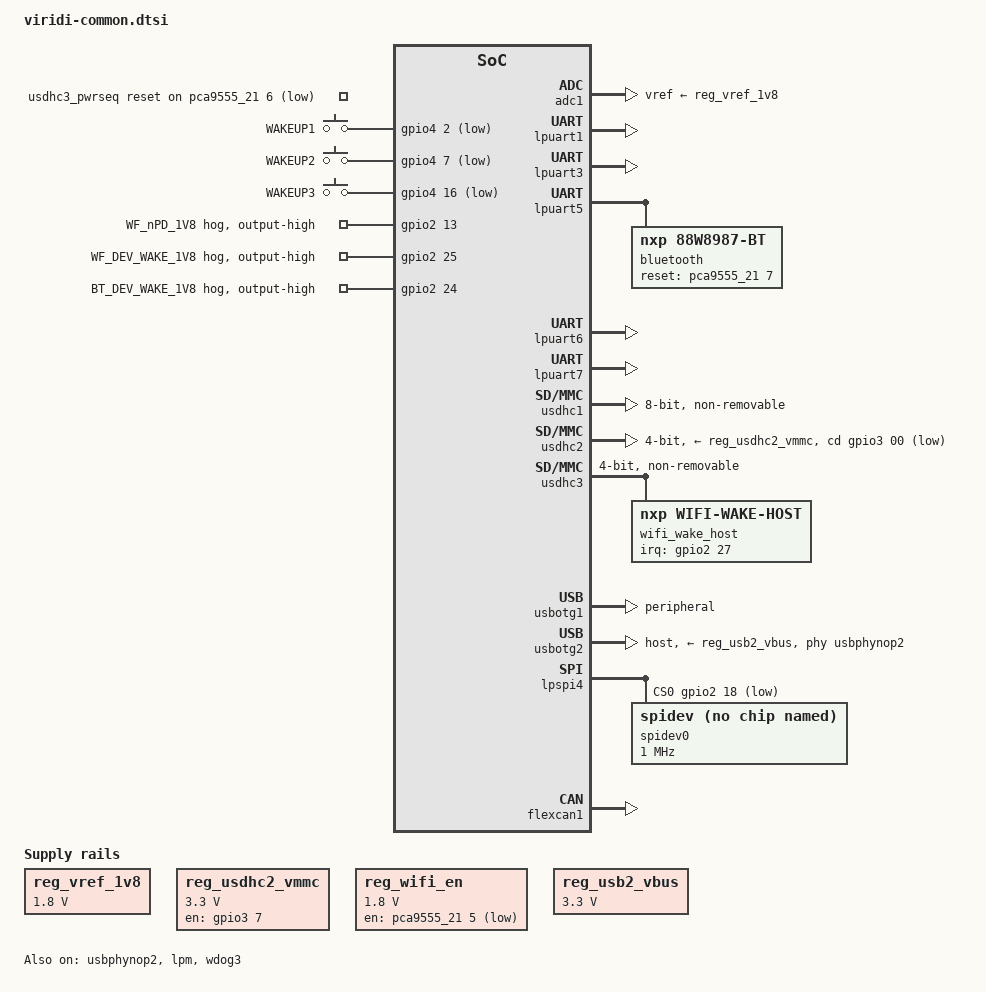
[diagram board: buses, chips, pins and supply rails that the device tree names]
/*
 * Common Device Tree Include for Viridi Platforms
 *
 * @TYPE: Common Device Tree Include
 * @NAME: viridi-common
 * @SOC: NXP i.MX9x Family
 * @DESCRIPTION:
 *   Shared device tree definitions for Viridi platforms based on NXP
 *   i.MX9x SoCs. This include provides common peripherals, GPIO expanders,
 *   regulators, and reusable hardware blocks shared across multiple boards.
 * @MAINTAINER: Aitor Carrizosa <aitor.carrizosa@futureelectronics.com>
 */

/ {
	reg_vref_1v8: regulator-adc-vref {
		compatible = "regulator-fixed";
		regulator-name = "vref_1v8";
		regulator-min-microvolt = <1800000>;
		regulator-max-microvolt = <1800000>;
	};

	reg_usdhc2_vmmc: regulator-usdhc2 {
		compatible = "regulator-fixed";
		pinctrl-names = "default";
		pinctrl-0 = <&pinctrl_reg_usdhc2_vmmc>;
		regulator-name = "VSD_3V3";
		regulator-min-microvolt = <3300000>;
		regulator-max-microvolt = <3300000>;
		gpio = <&gpio3 7 GPIO_ACTIVE_HIGH>;
		off-on-delay-us = <12000>;
		enable-active-high;
	};

	reg_wifi_en: regulator-wifi-en {
		compatible = "regulator-fixed";
		regulator-name = "WF_nEN_1V8";
		regulator-min-microvolt = <1800000>;
		regulator-max-microvolt = <1800000>;
		gpio = <&pca9555_21 5 GPIO_ACTIVE_LOW>;		// IO_Exp(P0_5) = WF_nEN_1V8 (active low)
		regulator-always-on;
		startup-delay-us = <5000>;
	};

	reg_usb2_vbus: regulator-usb2-vbus {
        compatible = "regulator-fixed";
        regulator-name = "VUSB2_VBUS_3V3";
        regulator-min-microvolt = <3300000>;
        regulator-max-microvolt = <3300000>;
        regulator-always-on;
    };

	// reg_bt_nrst: regulator-bt-nrst {
	// 	compatible = "regulator-fixed";
	// 	regulator-name = "BT_nRST_1V8";
	// 	regulator-min-microvolt = <1800000>;
	// 	regulator-max-microvolt = <1800000>;
	// 	gpio = <&pca9555_21 7 GPIO_ACTIVE_LOW>;		// IO_Exp(P0_7) = BT_nRST_1V8 (active low)
	// 	regulator-always-on;
	// 	startup-delay-us = <5000>;
	// };

	usdhc3_pwrseq: usdhc3_pwrseq {
		compatible = "mmc-pwrseq-simple";
		reset-gpios = <&pca9555_21 6 GPIO_ACTIVE_LOW>;		// IO_Exp(P0_6) = WF_nRST_1V8 (active low)
		post-power-on-delay-ms = <20>;
	};

	// TODO: assign more descriptive labels and node names instead of wakeupX
	gpio-keys {
		compatible = "gpio-keys";
		pinctrl-0 = <&pinctrl_wakeup>;
		pinctrl-names = "default";
		wakeup1 {
			label = "WAKEUP1";
			gpios = <&gpio4 2 GPIO_ACTIVE_LOW>;
			linux,code = <KEY_WAKEUP>;
			wakeup-source;
		};

		wakeup2 {
			label = "WAKEUP2";
			gpios = <&gpio4 7 GPIO_ACTIVE_LOW>;
			linux,code = <KEY_WAKEUP>;
			wakeup-source;
		};

		// This acts as a wakeup while suspended, and as a suspend when running
		// So it toggles between the two states
		wakeup3 {
			label = "WAKEUP3";
			gpios = <&gpio4 16 GPIO_ACTIVE_LOW>;
			linux,code = <KEY_SUSPEND>;
			wakeup-source;
		};
	};
};

&adc1 {
	vref-supply = <&reg_vref_1v8>;
	status = "okay";
};

&lpuart1 {
	/* Console */
	pinctrl-names = "default";
	pinctrl-0 = <&pinctrl_uart1>;
	status = "okay";
};

&lpuart3 {
	/* LTE */
	pinctrl-0 = <&pinctrl_uart3>;
	pinctrl-names = "default";
	status = "okay";
};

&lpuart5 {
	/* BT */
	pinctrl-names = "default";
	pinctrl-0 = <&pinctrl_uart5>;
	status = "okay";
	fsl,uart-has-rtscts;
	bluetooth {
		compatible = "nxp,88w8987-bt";
		fw-init-baudrate = <3000000>;
		reset-gpios = <&pca9555_21 7 GPIO_ACTIVE_HIGH>;
		// host-wakeup-gpios = <&gpio2 26 GPIO_ACTIVE_HIGH>;
		// device-wakeup-gpios = <&gpio2 24 GPIO_ACTIVE_HIGH>;
	};
};

&lpuart6 {
	/* RS232/RS485 */
	pinctrl-0 = <&pinctrl_uart6>;
	pinctrl-names = "default";
	status = "okay";
	/*RS485*/
	fsl,uart-has-rtscts;
	linux,rs485-enabled-at-boot-time;
	rs485-rts-active-high;
	rs485-rts-delay = <1 1>;
	rs485-rx-during-tx;
};

&lpuart7 {
	/* Connector */
	pinctrl-0 = <&pinctrl_uart7>;
	pinctrl-names = "default";
	status = "okay";
	fsl,uart-has-rtscts;
};

&usdhc1 {
	pinctrl-names = "default", "state_100mhz", "state_200mhz";
	pinctrl-0 = <&pinctrl_usdhc1>;
	pinctrl-1 = <&pinctrl_usdhc1_100mhz>;
	pinctrl-2 = <&pinctrl_usdhc1_200mhz>;
	bus-width = <8>;
	fsl,tuning-step = <1>;
	non-removable;
	status = "okay";
};

&usdhc2 {
	pinctrl-names = "default", "state_100mhz", "state_200mhz", "sleep";
	pinctrl-0 = <&pinctrl_usdhc2>, <&pinctrl_usdhc2_gpio>;
	pinctrl-1 = <&pinctrl_usdhc2_100mhz>, <&pinctrl_usdhc2_gpio>;
	pinctrl-2 = <&pinctrl_usdhc2_200mhz>, <&pinctrl_usdhc2_gpio>;
	pinctrl-3 = <&pinctrl_usdhc2_sleep>, <&pinctrl_usdhc2_gpio_sleep>;
	cd-gpios = <&gpio3 00 GPIO_ACTIVE_LOW>;
	fsl,cd-gpio-wakeup-disable;
	vmmc-supply = <&reg_usdhc2_vmmc>;
	bus-width = <4>;
	fsl,tuning-step = <1>;
	status = "okay";
	// no-sdio;
	no-mmc;
};

&usdhc3 {
	pinctrl-names = "default", "state_100mhz", "state_200mhz", "sleep";
	pinctrl-0 = <&pinctrl_usdhc3>;
	pinctrl-1 = <&pinctrl_usdhc3_100mhz>;
	pinctrl-2 = <&pinctrl_usdhc3_200mhz>;
	pinctrl-3 = <&pinctrl_usdhc3_sleep>;
	mmc-pwrseq = <&usdhc3_pwrseq>;
	vqmmc-supply = <&reg_wifi_en>;
	bus-width = <4>;
	non-removable;
	keep-power-in-suspend;
	wakeup-source;
	status = "okay";
	wifi-dev-wake-gpios = <&gpio2 25 GPIO_ACTIVE_HIGH>;		//GPIO2_25 = WF_DEV_WAKE_1V8
	wifi_wake_host {
		compatible = "nxp,wifi-wake-host";
		interrupt-parent = <&gpio2>;
		interrupts = <27 IRQ_TYPE_LEVEL_LOW>;		//GPIO2_27 = WF_WAKE_HOST_1V8
		interrupt-names = "host-wake";
	};
};

&usbotg1 {
	dr_mode = "peripheral";
	hnp-disable;
	srp-disable;
	adp-disable;
	disable-over-current;
	samsung,picophy-pre-emp-curr-control = <3>;
	samsung,picophy-dc-vol-level-adjust = <7>;
	status = "okay";
};

&usbphynop2 {
	vcc-supply = <&reg_usb2_vbus>;
	status = "okay";
};

&usbotg2 {
	dr_mode = "host";
	hnp-disable;
	srp-disable;
	adp-disable;
	disable-over-current;
	vbus-supply = <&reg_usb2_vbus>;
	phys = <&usbphynop2>;
	phy-names = "usb2-phy";
	samsung,picophy-pre-emp-curr-control = <3>;
	samsung,picophy-dc-vol-level-adjust = <7>;
	status = "okay";
};

&lpspi4 {
	fsl,spi-num-chipselects = <1>;
	pinctrl-names = "default", "sleep";
	pinctrl-0 = <&pinctrl_lpspi4>;
	cs-gpios = <&gpio2 18 GPIO_ACTIVE_LOW>;
	status = "okay";
	spidev0: spidev@0 {
		reg = <0>;								// CS0
		compatible = "linux,spidev";			// Generic driver for testing
		spi-max-frequency = <1000000>;			// 1 MHz, adjust according to peripheral
	};
};

&flexcan1 {
	pinctrl-names = "default";
	pinctrl-0 = <&pinctrl_flexcan1>;
	status = "okay";
	standby-gpios = <&gpio1 14 GPIO_ACTIVE_HIGH>;	/* CAN1_STBY */
	eol-gpios = <&fxl6408 4 GPIO_ACTIVE_HIGH>;	/* CAN1_EOL */
};

&gpio1 {
	gpio-line-names =
		"gpio1-00", "gpio1-01", "gpio1-02", "gpio1-03",
		"gpio1-04", "gpio1-05", "gpio1-06", "gpio1-07",
		"gpio1-08", "gpio1-09", "gpio1-10", "gpio1-11",
		"gpio1-12", "gpio1-13", "gpio1-14", "gpio1-15",
		"gpio1-16", "gpio1-17", "gpio1-18", "gpio1-19",
		"gpio1-20", "gpio1-21", "gpio1-22", "gpio1-23",
		"gpio1-24", "gpio1-25", "gpio1-26", "gpio1-27",
		"gpio1-28", "gpio1-29", "gpio1-30", "gpio1-31";
};

&gpio2 {
	gpio-line-names =
		"gpio2-00", "gpio2-01", "gpio2-02", "gpio2-03",
		"gpio2-04", "gpio2-05", "gpio2-06", "gpio2-07",
		"gpio2-08", "gpio2-09", "gpio2-10", "gpio2-11",
		"gpio2-12", "WF_nPD_1V8", "gpio2-14", "gpio2-15",
		"gpio2-16", "gpio2-17", "gpio2-18", "gpio2-19",
		"gpio2-20", "gpio2-21", "gpio2-22", "gpio2-23",
		"BT_DEV_WAKE_1V8", "WF_DEV_WAKE_1V8", "BT_WAKE_HOST_1V8", "WF_WAKE_HOST_1V8",
		"gpio2-28", "gpio2-29", "gpio2-30", "gpio2-31";

	wifi_pdn_hog: wifi-pdn-hog {
		gpio-hog;
		gpios = <13 GPIO_ACTIVE_HIGH>;		// GPIO2_13 (PDn=1) = WF_nPD_1V8
		output-high;
		line-name = "WF_nPD_1V8";
	};

	wf_devwake_hog: wf-devwake-hog {
		gpio-hog;
		gpios = <25 GPIO_ACTIVE_HIGH>;		// GPIO2_25 = WF_DEV_WAKE_1V8
		output-high;
		line-name = "WF_DEV_WAKE_1V8";
	};

	bt_devwake_hog: bt-devwake-hog {
		gpio-hog;
		gpios = <24 GPIO_ACTIVE_HIGH>;		// GPIO2_24 = BT_DEV_WAKE_1V8
		output-high;
		line-name = "BT_DEV_WAKE_1V8";
	};
};

&gpio3 {
	gpio-line-names =
		"gpio3-00", "CAN2_EOL", "gpio3-02", "gpio3-03",
		"gpio3-04", "gpio3-05", "gpio3-06", "gpio3-07",
		"gpio3-08", "gpio3-09", "gpio3-10", "gpio3-11",
		"gpio3-12", "gpio3-13", "gpio3-14", "gpio3-15",
		"gpio3-16", "gpio3-17", "gpio3-18", "gpio3-19",
		"gpio3-20", "gpio3-21", "gpio3-22", "gpio3-23",
		"gpio3-24", "gpio3-25", "gpio3-26", "gpio3-27",
		"gpio3-28", "gpio3-29", "gpio3-30", "gpio3-31";
};

&gpio4 {
	gpio-line-names =
		"gpio4-00", "gpio4-01", "gpio4-02", "gpio4-03",
		"gpio4-04", "gpio4-05", "gpio4-06", "gpio4-07",
		"gpio4-08", "gpio4-09", "gpio4-10", "gpio4-11",
		"gpio4-12", "gpio4-13", "gpio4-14", "gpio4-15",
		"gpio4-16", "gpio4-17", "gpio4-18", "gpio4-19",
		"gpio4-20", "gpio4-21", "gpio4-22", "gpio4-23",
		"gpio4-24", "gpio4-25", "gpio4-26", "gpio4-27",
		"gpio4-28", "gpio4-29", "gpio4-30", "gpio4-31";
};

&lpm {						//Low Power Mode
	soc-supply = <&buck1>;
	status = "okay";
};

&wdog3 {					//Watchdog Timer
	status = "okay";
};
